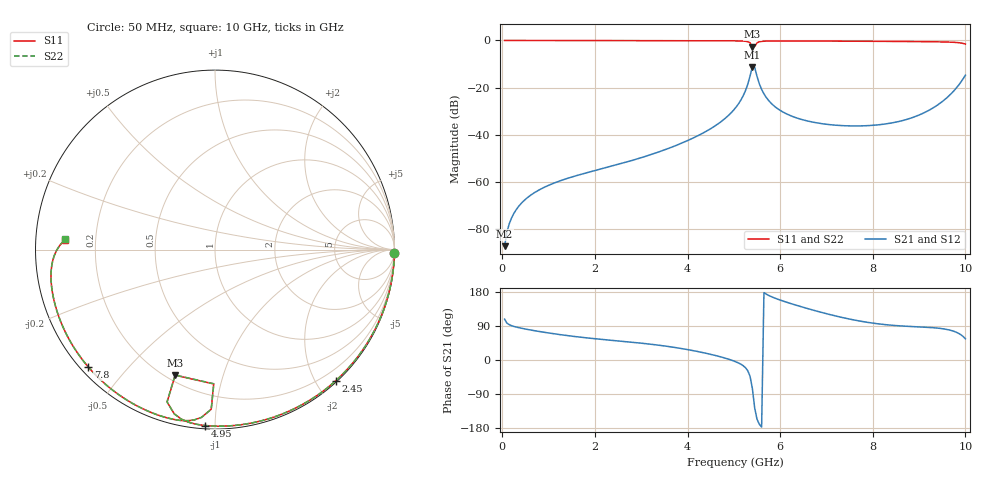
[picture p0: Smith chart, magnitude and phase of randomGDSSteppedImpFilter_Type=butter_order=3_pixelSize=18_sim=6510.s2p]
! freq	dB(S11)	phase(S11)	dB(S12)	phase(S12)
!  dB(S21)	phase(S21)	dB(S22)	phase(S22)
!S-par simulation data
#  GHz  S  DB  R 50
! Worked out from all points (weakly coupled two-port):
!   200 points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, 50 MHz to 10 GHz, reference 50 ohm
!   highest |S21| = -11.21 dB at 5.4 GHz (marker M1); lowest = -87.4 dB at 50 MHz (marker M2)
!   lowest |S11| = -2.7 dB at 5.4 GHz (marker M3), VSWR 6.53, Z = 11.6 - j35.3 ohm
!   |S11| at or under -10 dB: nowhere
!   |S22| runs from -2.7 to 0.0 dB; largest |S21 - S12| = 0
!   S11 on the Smith chart (normalised r, x): 50 MHz: open; 2.45 GHz: 0.02, -2.28; 4.95 GHz: 0.02, -0.95; 7.8 GHz: 0.02, -0.39; 10 GHz: 0.09, +0.03
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0.05  -0.00 -1.0  -87.36 107.7  -87.36 107.7  -0.00 -1.0
0.1  -0.00 -2.0  -81.38 97.4  -81.38 97.4  -0.00 -2.0
0.35  -0.00 -6.9  -70.54 85.5  -70.54 85.5  -0.00 -6.9
0.6  -0.01 -11.9  -65.89 79.4  -65.89 79.4  -0.01 -11.9
1.75  -0.04 -34.1  -56.58 59.4  -56.58 59.4  -0.04 -34.1
2.45  -0.06 -47.3  -52.90 50.9  -52.90 50.9  -0.06 -47.4
3.4  -0.09 -64.8  -47.19 38.7  -47.19 38.7  -0.09 -64.8
4.35  -0.12 -81.9  -39.16 19.1  -39.16 19.1  -0.12 -81.9
4.95  -0.16 -93.2  -30.55 -0.4  -30.55 -0.4  -0.16 -93.2
5.05  -0.18 -95.4  -28.27 -5.0  -28.27 -5.0  -0.18 -95.4
5.25  -0.34 -101.4  -21.39 -20.2  -21.39 -20.2  -0.34 -101.4
5.4  -2.68 -107.6  -11.21 -75.3  -11.21 -75.3  -2.70 -107.6
5.45  -2.52 -90.5  -11.45 -126.5  -11.45 -126.5  -2.53 -90.5
5.5  -1.01 -91.4  -15.20 -156.0  -15.20 -156.0  -1.02 -91.3
5.6  -0.39 -97.0  -20.80 -177.1  -20.80 -177.1  -0.39 -97.0
5.85  -0.23 -103.9  -27.49 165.0  -27.49 165.0  -0.23 -103.9
6.7  -0.25 -119.1  -34.66 132.0  -34.66 132.0  -0.25 -119.1
7.8  -0.33 -137.3  -36.26 101.1  -36.26 101.1  -0.33 -137.3
8.35  -0.39 -146.5  -35.24 92.3  -35.24 92.3  -0.39 -146.5
9.35  -0.56 -164.8  -28.06 84.8  -28.06 84.8  -0.56 -164.9
9.7  -0.73 -173.0  -22.47 77.7  -22.47 77.7  -0.74 -173.1
10  -1.55 176.2  -14.77 55.9  -14.77 55.9  -1.56 176.1
